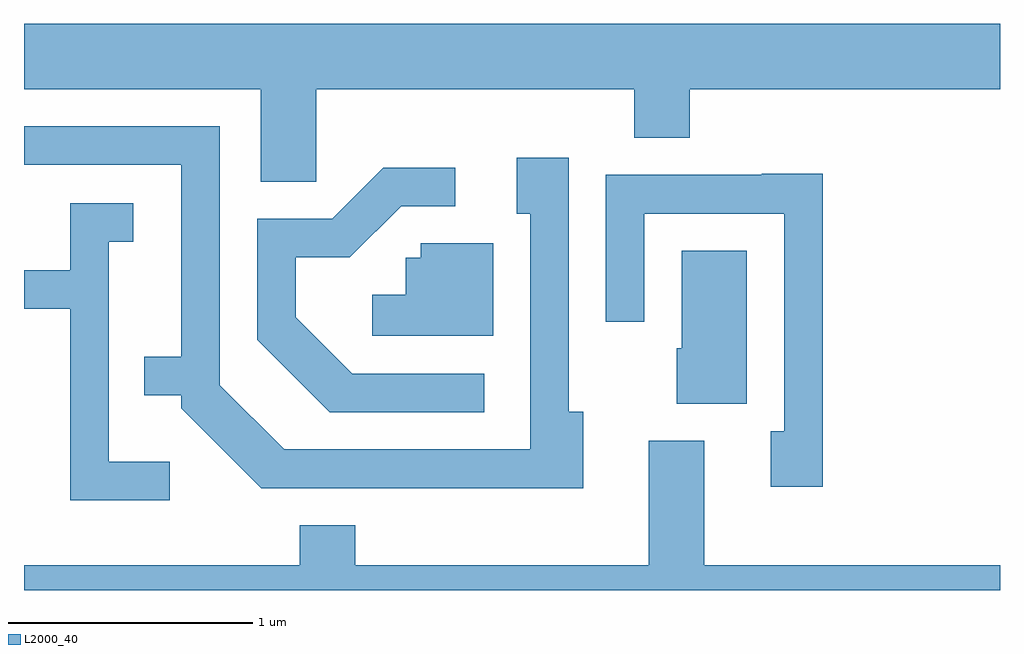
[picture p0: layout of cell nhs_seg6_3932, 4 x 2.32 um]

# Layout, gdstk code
import gdstk
lib = gdstk.Library(unit=1e-6, precision=1e-09)
def P(c, l, *ps):  # polygons
    for p in ps: c.add(gdstk.Polygon(p, *l))
L2000_40 = (2000, 40)

nhs_seg6_3932 = lib.new_cell('nhs_seg6_3932')
P(nhs_seg6_3932, L2000_40, [(304.809,1592.216),(306.111,1592.216),(306.111,1592.016),(306.339,1592.016),(306.339,1592.216),(307.611,1592.216),(307.611,1592.484),(303.611,1592.484),(303.611,1592.216),(304.581,1592.216),(304.581,1591.836),(304.809,1591.836)],
  [(305.904,1590.894),(305.844,1590.894),(305.844,1591.934),(305.631,1591.934),(305.631,1591.706),(305.686,1591.706),(305.686,1590.739),(304.677,1590.739),(304.414,1591.002),(304.414,1592.064),(303.611,1592.064),(303.611,1591.906),(304.256,1591.906),(304.256,1591.119),(304.103,1591.119),(304.103,1590.961),(304.256,1590.961),(304.256,1590.909),(304.584,1590.581),(305.904,1590.581)],
  [(305.498,1591.049),(304.957,1591.049),(304.724,1591.282),(304.724,1591.526),(304.947,1591.526),(305.157,1591.736),(305.378,1591.736),(305.378,1591.894),(305.084,1591.894),(304.874,1591.684),(304.566,1591.684),(304.566,1591.189),(304.864,1590.891),(305.498,1590.891)],
  [(306.884,1591.869),(306.635,1591.869),(306.635,1591.864),(305.996,1591.864),(305.996,1591.263),(306.154,1591.263),(306.154,1591.706),(306.726,1591.706),(306.726,1590.814),(306.671,1590.814),(306.671,1590.586),(306.884,1590.586)],
  [(304.208,1590.689),(303.959,1590.689),(303.959,1591.591),(304.058,1591.591),(304.058,1591.749),(303.801,1591.749),(303.801,1591.474),(303.611,1591.474),(303.611,1591.316),(303.801,1591.316),(303.801,1590.531),(304.208,1590.531)],
  [(305.534,1591.584),(305.236,1591.584),(305.236,1591.524),(305.176,1591.524),(305.176,1591.374),(305.038,1591.374),(305.038,1591.206),(305.534,1591.206)],
  [(306.574,1591.554),(306.306,1591.554),(306.306,1591.154),(306.286,1591.154),(306.286,1590.926),(306.574,1590.926)],
  [(307.611,1590.264),(306.399,1590.264),(306.399,1590.774),(306.171,1590.774),(306.171,1590.264),(304.969,1590.264),(304.969,1590.429),(304.741,1590.429),(304.741,1590.264),(303.611,1590.264),(303.611,1590.162),(307.611,1590.162)])

lib.write_gds('nhs_seg6_3932.gds')
